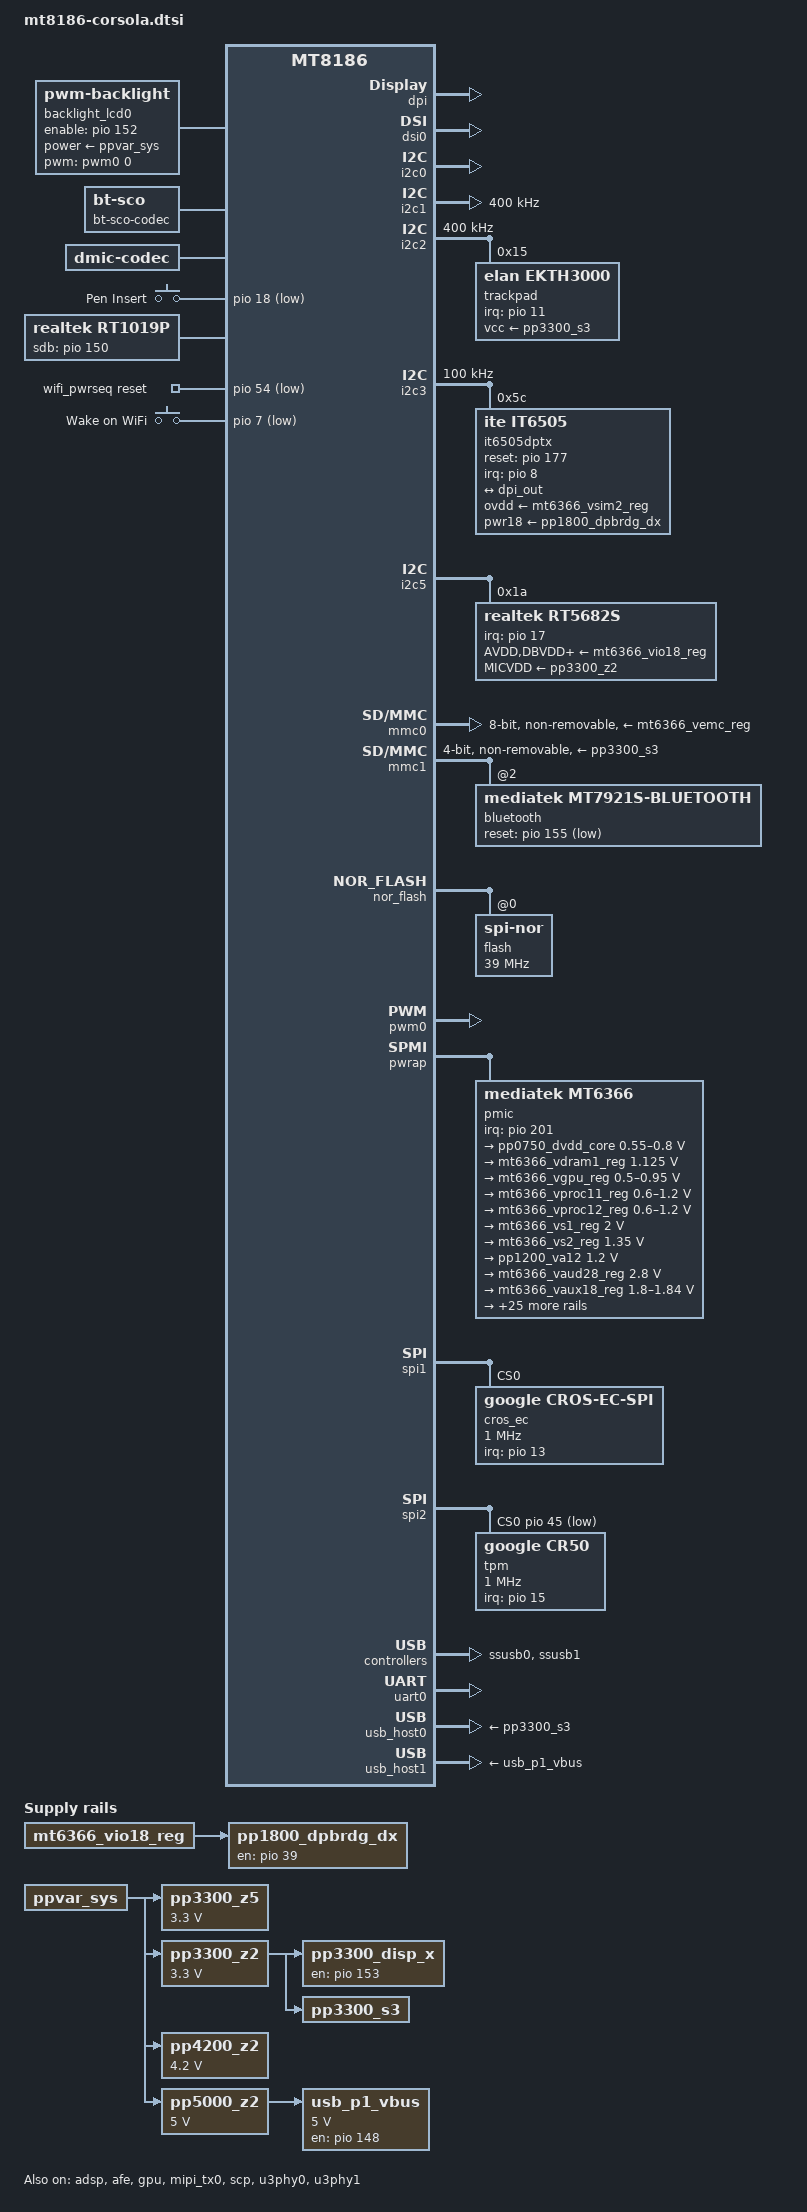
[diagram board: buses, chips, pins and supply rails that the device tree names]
// SPDX-License-Identifier: (GPL-2.0 OR MIT)
/*
 * Copyright (C) 2022 MediaTek Inc.
 */
/dts-v1/;
#include "mt8186.dtsi"
#include <dt-bindings/pinctrl/mt8186-pinfunc.h>
#include <dt-bindings/gpio/gpio.h>
#include <dt-bindings/input/input.h>
#include <dt-bindings/input/gpio-keys.h>
#include <dt-bindings/regulator/mediatek,mt6397-regulator.h>

/ {
	aliases {
		i2c0 = &i2c0;
		i2c1 = &i2c1;
		i2c2 = &i2c2;
		i2c3 = &i2c3;
		i2c5 = &i2c5;
		mmc0 = &mmc0;
		mmc1 = &mmc1;
		serial0 = &uart0;
	};

	chosen {
		stdout-path = "serial0:115200n8";
	};

	memory@40000000 {
		device_type = "memory";
		/* The size should be filled in by the bootloader. */
		reg = <0 0x40000000 0 0>;
	};

	backlight_lcd0: backlight-lcd0 {
		compatible = "pwm-backlight";
		pwms = <&pwm0 0 500000>;
		power-supply = <&ppvar_sys>;
		enable-gpios = <&pio 152 0>;
		brightness-levels = <0 1023>;
		num-interpolated-steps = <1023>;
		default-brightness-level = <576>;
	};

	bt-sco-codec {
		compatible = "linux,bt-sco";
		#sound-dai-cells = <0>;
	};

	dmic-codec {
		compatible = "dmic-codec";
		#sound-dai-cells = <0>;
		num-channels = <2>;
		wakeup-delay-ms = <50>;
	};

	gpio_keys: gpio-keys {
		compatible = "gpio-keys";
		pinctrl-names = "default";
		pinctrl-0 = <&pen_eject>;

		pen_insert: pen-insert-switch {
			label = "Pen Insert";
			/* Insert = low, eject = high */
			gpios = <&pio 18 GPIO_ACTIVE_LOW>;
			wakeup-event-action = <EV_ACT_DEASSERTED>;
			wakeup-source;
			linux,code = <SW_PEN_INSERTED>;
			linux,input-type = <EV_SW>;
		};
	};

	pp1800_dpbrdg_dx: regulator-pp1800-dpbrdg-dx {
		compatible = "regulator-fixed";
		pinctrl-names = "default";
		pinctrl-0 = <&en_pp1800_dpbrdg>;
		gpios = <&pio 39 GPIO_ACTIVE_HIGH>;
		regulator-name = "pp1800_dpbrdg_dx";
		enable-active-high;
		vin-supply = <&mt6366_vio18_reg>;
	};

	pp3300_disp_x: regulator-pp3300-disp-x {
		compatible = "regulator-fixed";
		pinctrl-names = "default";
		pinctrl-0 = <&edp_panel_fixed_pins>;
		gpios = <&pio 153 GPIO_ACTIVE_HIGH>;
		regulator-name = "pp3300_disp_x";
		enable-active-high;
		regulator-boot-on;
		vin-supply = <&pp3300_z2>;
	};

	/* system wide LDO 3.3V power rail */
	pp3300_z5: regulator-pp3300-ldo-z5 {
		compatible = "regulator-fixed";
		regulator-name = "pp3300_ldo_z5";
		regulator-always-on;
		regulator-boot-on;
		regulator-min-microvolt = <3300000>;
		regulator-max-microvolt = <3300000>;
		vin-supply = <&ppvar_sys>;
	};

	/* separately switched 3.3V power rail */
	pp3300_s3: regulator-pp3300-s3 {
		compatible = "regulator-fixed";
		regulator-name = "pp3300_s3";
		/* automatically sequenced by PMIC EXT_PMIC_EN2 */
		regulator-always-on;
		regulator-boot-on;
		vin-supply = <&pp3300_z2>;
	};

	/* system wide 3.3V power rail */
	pp3300_z2: regulator-pp3300-z2 {
		compatible = "regulator-fixed";
		regulator-name = "pp3300_z2";
		/* EN pin tied to pp4200_z2, which is controlled by EC */
		regulator-always-on;
		regulator-boot-on;
		regulator-min-microvolt = <3300000>;
		regulator-max-microvolt = <3300000>;
		vin-supply = <&ppvar_sys>;
	};

	/* system wide 4.2V power rail */
	pp4200_z2: regulator-pp4200-z2 {
		compatible = "regulator-fixed";
		regulator-name = "pp4200_z2";
		/* controlled by EC */
		regulator-always-on;
		regulator-boot-on;
		regulator-min-microvolt = <4200000>;
		regulator-max-microvolt = <4200000>;
		vin-supply = <&ppvar_sys>;
	};

	/* system wide switching 5.0V power rail */
	pp5000_z2: regulator-pp5000-z2 {
		compatible = "regulator-fixed";
		regulator-name = "pp5000_z2";
		/* controlled by EC */
		regulator-always-on;
		regulator-boot-on;
		regulator-min-microvolt = <5000000>;
		regulator-max-microvolt = <5000000>;
		vin-supply = <&ppvar_sys>;
	};

	/* system wide semi-regulated power rail from battery or USB */
	ppvar_sys: regulator-ppvar-sys {
		compatible = "regulator-fixed";
		regulator-name = "ppvar_sys";
		regulator-always-on;
		regulator-boot-on;
	};

	reserved_memory: reserved-memory {
		#address-cells = <2>;
		#size-cells = <2>;
		ranges;

		adsp_dma_mem: memory@61000000 {
			compatible = "shared-dma-pool";
			reg = <0 0x61000000 0 0x100000>;
			no-map;
		};

		adsp_mem: memory@60000000 {
			compatible = "shared-dma-pool";
			reg = <0 0x60000000 0 0xA00000>;
			no-map;
		};

		scp_mem: memory@50000000 {
			compatible = "shared-dma-pool";
			reg = <0 0x50000000 0 0x10a0000>;
			no-map;
		};
	};

	sound: sound {
		compatible = "mediatek,mt8186-mt6366-rt1019-rt5682s-sound";
		pinctrl-names = "aud_clk_mosi_off",
				"aud_clk_mosi_on",
				"aud_clk_miso_off",
				"aud_clk_miso_on",
				"aud_dat_miso_off",
				"aud_dat_miso_on",
				"aud_dat_mosi_off",
				"aud_dat_mosi_on",
				"aud_gpio_i2s0_off",
				"aud_gpio_i2s0_on",
				"aud_gpio_i2s1_off",
				"aud_gpio_i2s1_on",
				"aud_gpio_i2s2_off",
				"aud_gpio_i2s2_on",
				"aud_gpio_i2s3_off",
				"aud_gpio_i2s3_on",
				"aud_gpio_pcm_off",
				"aud_gpio_pcm_on",
				"aud_gpio_dmic_sec";
		pinctrl-0 = <&aud_clk_mosi_off>;
		pinctrl-1 = <&aud_clk_mosi_on>;
		pinctrl-2 = <&aud_clk_miso_off>;
		pinctrl-3 = <&aud_clk_miso_on>;
		pinctrl-4 = <&aud_dat_miso_off>;
		pinctrl-5 = <&aud_dat_miso_on>;
		pinctrl-6 = <&aud_dat_mosi_off>;
		pinctrl-7 = <&aud_dat_mosi_on>;
		pinctrl-8 = <&aud_gpio_i2s0_off>;
		pinctrl-9 = <&aud_gpio_i2s0_on>;
		pinctrl-10 = <&aud_gpio_i2s1_off>;
		pinctrl-11 = <&aud_gpio_i2s1_on>;
		pinctrl-12 = <&aud_gpio_i2s2_off>;
		pinctrl-13 = <&aud_gpio_i2s2_on>;
		pinctrl-14 = <&aud_gpio_i2s3_off>;
		pinctrl-15 = <&aud_gpio_i2s3_on>;
		pinctrl-16 = <&aud_gpio_pcm_off>;
		pinctrl-17 = <&aud_gpio_pcm_on>;
		pinctrl-18 = <&aud_gpio_dmic_sec>;
		mediatek,adsp = <&adsp>;
		mediatek,platform = <&afe>;

		playback-codecs {
			sound-dai = <&it6505dptx>, <&rt1019p>;
		};

		headset-codec {
			sound-dai = <&rt5682s 0>;
		};
	};

	rt1019p: speaker-codec {
		compatible = "realtek,rt1019p";
		pinctrl-names = "default";
		pinctrl-0 = <&rt1019p_pins_default>;
		#sound-dai-cells = <0>;
		sdb-gpios = <&pio 150 GPIO_ACTIVE_HIGH>;
	};

	usb_p1_vbus: regulator-usb-p1-vbus {
		compatible = "regulator-fixed";
		gpio = <&pio 148 GPIO_ACTIVE_HIGH>;
		regulator-name = "vbus1";
		regulator-min-microvolt = <5000000>;
		regulator-max-microvolt = <5000000>;
		enable-active-high;
		vin-supply = <&pp5000_z2>;
	};

	wifi_pwrseq: wifi-pwrseq {
		compatible = "mmc-pwrseq-simple";
		pinctrl-names = "default";
		pinctrl-0 = <&wifi_enable_pin>;
		post-power-on-delay-ms = <50>;
		reset-gpios = <&pio 54 GPIO_ACTIVE_LOW>;
	};

	wifi_wakeup: wifi-wakeup {
		compatible = "gpio-keys";
		pinctrl-names = "default";
		pinctrl-0 = <&wifi_wakeup_pin>;

		wowlan-event {
			label = "Wake on WiFi";
			gpios = <&pio 7 GPIO_ACTIVE_LOW>;
			linux,code = <KEY_WAKEUP>;
			wakeup-source;
		};
	};
};

&adsp {
	memory-region = <&adsp_dma_mem>, <&adsp_mem>;
	status = "okay";
};

&afe {
	status = "okay";
};

&cci {
	proc-supply = <&mt6366_vproc12_reg>;
};

&cpu0 {
	proc-supply = <&mt6366_vproc12_reg>;
};

&cpu1 {
	proc-supply = <&mt6366_vproc12_reg>;
};

&cpu2 {
	proc-supply = <&mt6366_vproc12_reg>;
};

&cpu3 {
	proc-supply = <&mt6366_vproc12_reg>;
};

&cpu4 {
	proc-supply = <&mt6366_vproc12_reg>;
};

&cpu5 {
	proc-supply = <&mt6366_vproc12_reg>;
};

&cpu6 {
	proc-supply = <&mt6366_vproc11_reg>;
};

&cpu7 {
	proc-supply = <&mt6366_vproc11_reg>;
};

&dpi {
	pinctrl-names = "default", "sleep";
	pinctrl-0 = <&dpi_pins_default>;
	pinctrl-1 = <&dpi_pins_sleep>;
	status = "okay";
};

&dpi_out {
	remote-endpoint = <&it6505_in>;
};

&dsi0 {
	status = "okay";
};

&gic {
	mediatek,broken-save-restore-fw;
};

&gpu {
	mali-supply = <&mt6366_vgpu_reg>;
	status = "okay";
};

&i2c0 {
	pinctrl-names = "default";
	pinctrl-0 = <&i2c0_pins>;
	status = "okay";
};

&i2c1 {
	pinctrl-names = "default";
	pinctrl-0 = <&i2c1_pins>;
	clock-frequency = <400000>;
	i2c-scl-internal-delay-ns = <8000>;
	status = "okay";
};

&i2c2 {
	pinctrl-names = "default";
	/*
	 * Trackpad pin put here to work around second source components
	 * sharing the pinmux in steelix designs.
	 */
	pinctrl-0 = <&i2c2_pins>, <&trackpad_pin>;
	clock-frequency = <400000>;
	i2c-scl-internal-delay-ns = <10000>;
	status = "okay";

	trackpad@15 {
		compatible = "elan,ekth3000";
		reg = <0x15>;
		interrupts-extended = <&pio 11 IRQ_TYPE_LEVEL_LOW>;
		vcc-supply = <&pp3300_s3>;
		wakeup-source;
	};
};

&i2c3 {
	pinctrl-names = "default";
	pinctrl-0 = <&i2c3_pins>;
	clock-frequency = <100000>;
	status = "okay";

	it6505dptx: dp-bridge@5c {
		compatible = "ite,it6505";
		reg = <0x5c>;
		interrupts-extended = <&pio 8 IRQ_TYPE_LEVEL_LOW>;
		pinctrl-names = "default";
		pinctrl-0 = <&it6505_pins>;
		#sound-dai-cells = <0>;
		ovdd-supply = <&mt6366_vsim2_reg>;
		pwr18-supply = <&pp1800_dpbrdg_dx>;
		reset-gpios = <&pio 177 GPIO_ACTIVE_HIGH>;

		ports {
			#address-cells = <1>;
			#size-cells = <0>;

			port@0 {
				reg = <0>;

				it6505_in: endpoint {
					link-frequencies = /bits/ 64 <150000000>;
					remote-endpoint = <&dpi_out>;
				};
			};

			port@1 {
				reg = <1>;
			};
		};
	};
};

&i2c5 {
	pinctrl-names = "default";
	pinctrl-0 = <&i2c5_pins>;
	status = "okay";

	rt5682s: codec@1a {
		compatible = "realtek,rt5682s";
		reg = <0x1a>;
		interrupts-extended = <&pio 17 IRQ_TYPE_EDGE_BOTH>;
		#sound-dai-cells = <1>;
		AVDD-supply = <&mt6366_vio18_reg>;
		DBVDD-supply = <&mt6366_vio18_reg>;
		LDO1-IN-supply = <&mt6366_vio18_reg>;
		MICVDD-supply = <&pp3300_z2>;
		realtek,jd-src = <1>;
	};
};

&mfg0 {
	domain-supply = <&mt6366_vsram_gpu_reg>;
};

&mfg1 {
	domain-supply = <&mt6366_vgpu_reg>;
};

&mipi_tx0 {
	status = "okay";
};

&mmc0 {
	pinctrl-names = "default", "state_uhs";
	pinctrl-0 = <&mmc0_pins_default>;
	pinctrl-1 = <&mmc0_pins_uhs>;
	bus-width = <8>;
	max-frequency = <200000000>;
	non-removable;
	cap-mmc-highspeed;
	mmc-hs200-1_8v;
	mmc-hs400-1_8v;
	supports-cqe;
	no-sd;
	no-sdio;
	cap-mmc-hw-reset;
	hs400-ds-delay = <0x11814>;
	mediatek,hs400-ds-dly3 = <0x14>;
	vmmc-supply = <&mt6366_vemc_reg>;
	vqmmc-supply = <&mt6366_vio18_reg>;
	status = "okay";
};

&mmc1 {
	pinctrl-names = "default", "state_uhs", "state_eint";
	pinctrl-0 = <&mmc1_pins_default>;
	pinctrl-1 = <&mmc1_pins_uhs>;
	pinctrl-2 = <&mmc1_pins_eint>;
	/delete-property/ interrupts;
	interrupt-names = "msdc", "sdio_wakeup";
	interrupts-extended = <&gic GIC_SPI 101 IRQ_TYPE_LEVEL_HIGH 0>,
			      <&pio 87 IRQ_TYPE_LEVEL_LOW>;
	#address-cells = <1>;
	#size-cells = <0>;
	bus-width = <4>;
	max-frequency = <200000000>;
	cap-sd-highspeed;
	sd-uhs-sdr104;
	sd-uhs-sdr50;
	keep-power-in-suspend;
	wakeup-source;
	cap-sdio-irq;
	no-mmc;
	no-sd;
	non-removable;
	vmmc-supply = <&pp3300_s3>;
	vqmmc-supply = <&mt6366_vio18_reg>;
	mmc-pwrseq = <&wifi_pwrseq>;
	status = "okay";

	bluetooth@2 {
		compatible = "mediatek,mt7921s-bluetooth";
		reg = <2>;
		pinctrl-names = "default";
		pinctrl-0 = <&bt_pins_reset>;
		reset-gpios = <&pio 155 GPIO_ACTIVE_LOW>;
	};
};

&nor_flash {
	assigned-clock-parents = <&topckgen CLK_TOP_MAINPLL_D7_D4>;
	pinctrl-names = "default";
	pinctrl-0 = <&nor_pins_default>;
	#address-cells = <1>;
	#size-cells = <0>;
	status = "okay";

	flash@0 {
		compatible = "jedec,spi-nor";
		reg = <0>;
		spi-max-frequency = <39000000>;
	};
};

&pio {
	/* 185 lines */
	gpio-line-names = "TP",
			  "TP",
			  "TP",
			  "I2S0_HP_DI",
			  "I2S3_DP_SPKR_DO",
			  "SAR_INT_ODL",
			  "BT_WAKE_AP_ODL",
			  "WIFI_INT_ODL",
			  "DPBRDG_INT_ODL",
			  "EDPBRDG_INT_ODL",
			  "EC_AP_HPD_OD",
			  "TCHPAD_INT_ODL",
			  "TCHSCR_INT_1V8_ODL",
			  "EC_AP_INT_ODL",
			  "EC_IN_RW_ODL",
			  "GSC_AP_INT_ODL",
			  /* AP_FLASH_WP_L is crossystem ABI. Rev1 schematics call it AP_WP_ODL. */
			  "AP_FLASH_WP_L",
			  "HP_INT_ODL",
			  "PEN_EJECT_OD",
			  "WCAM_PWDN_L",
			  "WCAM_RST_L",
			  "UCAM_SEN_EN",
			  "UCAM_RST_L",
			  "LTE_RESET_L",
			  "LTE_SAR_DETECT_L",
			  "I2S2_DP_SPK_MCK",
			  "I2S2_DP_SPKR_BCK",
			  "I2S2_DP_SPKR_LRCK",
			  "I2S2_DP_SPKR_DI (TP)",
			  "EN_PP1000_EDPBRDG",
			  "EN_PP1800_EDPBRDG",
			  "EN_PP3300_EDPBRDG",
			  "UART_GSC_TX_AP_RX",
			  "UART_AP_TX_GSC_RX",
			  "UART_DBGCON_TX_ADSP_RX",
			  "UART_ADSP_TX_DBGCON_RX",
			  "EN_PP1000_DPBRDG",
			  "TCHSCR_REPORT_DISABLE",
			  "EN_PP3300_DPBRDG",
			  "EN_PP1800_DPBRDG",
			  "SPI_AP_CLK_EC",
			  "SPI_AP_CS_EC_L",
			  "SPI_AP_DO_EC_DI",
			  "SPI_AP_DI_EC_DO",
			  "SPI_AP_CLK_GSC",
			  "SPI_AP_CS_GSC_L",
			  "SPI_AP_DO_GSC_DI",
			  "SPI_AP_DI_GSC_DO",
			  "UART_DBGCON_TX_SCP_RX",
			  "UART_SCP_TX_DBGCON_RX",
			  "EN_PP1200_CAM_X",
			  "EN_PP2800A_VCM_X",
			  "EN_PP2800A_UCAM_X",
			  "EN_PP2800A_WCAM_X",
			  "WLAN_MODULE_RST_L",
			  "EN_PP1200_UCAM_X",
			  "I2S1_HP_DO",
			  "I2S1_HP_BCK",
			  "I2S1_HP_LRCK",
			  "I2S1_HP_MCK",
			  "TCHSCR_RST_1V8_L",
			  "SPI_AP_CLK_ROM",
			  "SPI_AP_CS_ROM_L",
			  "SPI_AP_DO_ROM_DI",
			  "SPI_AP_DI_ROM_DO",
			  "NC",
			  "NC",
			  "EMMC_STRB",
			  "EMMC_CLK",
			  "EMMC_CMD",
			  "EMMC_RST_L",
			  "EMMC_DATA0",
			  "EMMC_DATA1",
			  "EMMC_DATA2",
			  "EMMC_DATA3",
			  "EMMC_DATA4",
			  "EMMC_DATA5",
			  "EMMC_DATA6",
			  "EMMC_DATA7",
			  "AP_KPCOL0",
			  "NC",
			  "NC",
			  "NC",
			  "TP",
			  "SDIO_CLK",
			  "SDIO_CMD",
			  "SDIO_DATA0",
			  "SDIO_DATA1",
			  "SDIO_DATA2",
			  "SDIO_DATA3",
			  "NC",
			  "NC",
			  "NC",
			  "NC",
			  "NC",
			  "NC",
			  "EDPBRDG_PWREN",
			  "BL_PWM_1V8",
			  "EDPBRDG_RST_L",
			  "MIPI_DPI_CLK",
			  "MIPI_DPI_VSYNC",
			  "MIPI_DPI_HSYNC",
			  "MIPI_DPI_DE",
			  "MIPI_DPI_D0",
			  "MIPI_DPI_D1",
			  "MIPI_DPI_D2",
			  "MIPI_DPI_D3",
			  "MIPI_DPI_D4",
			  "MIPI_DPI_D5",
			  "MIPI_DPI_D6",
			  "MIPI_DPI_DA7",
			  "MIPI_DPI_D8",
			  "MIPI_DPI_D9",
			  "MIPI_DPI_D10",
			  "MIPI_DPI_D11",
			  "PCM_BT_CLK",
			  "PCM_BT_SYNC",
			  "PCM_BT_DI",
			  "PCM_BT_DO",
			  "JTAG_TMS_TP",
			  "JTAG_TCK_TP",
			  "JTAG_TDI_TP",
			  "JTAG_TDO_TP",
			  "JTAG_TRSTN_TP",
			  "CLK_24M_WCAM",
			  "CLK_24M_UCAM",
			  "UCAM_DET_ODL",
			  "AP_I2C_EDPBRDG_SCL_1V8",
			  "AP_I2C_EDPBRDG_SDA_1V8",
			  "AP_I2C_TCHSCR_SCL_1V8",
			  "AP_I2C_TCHSCR_SDA_1V8",
			  "AP_I2C_TCHPAD_SCL_1V8",
			  "AP_I2C_TCHPAD_SDA_1V8",
			  "AP_I2C_DPBRDG_SCL_1V8",
			  "AP_I2C_DPBRDG_SDA_1V8",
			  "AP_I2C_WLAN_SCL_1V8",
			  "AP_I2C_WLAN_SDA_1V8",
			  "AP_I2C_AUD_SCL_1V8",
			  "AP_I2C_AUD_SDA_1V8",
			  "AP_I2C_TPM_SCL_1V8",
			  "AP_I2C_UCAM_SDA_1V8",
			  "AP_I2C_UCAM_SCL_1V8",
			  "AP_I2C_UCAM_SDA_1V8",
			  "AP_I2C_WCAM_SCL_1V8",
			  "AP_I2C_WCAM_SDA_1V8",
			  "SCP_I2C_SENSOR_SCL_1V8",
			  "SCP_I2C_SENSOR_SDA_1V8",
			  "AP_EC_WARM_RST_REQ",
			  "AP_XHCI_INIT_DONE",
			  "USB3_HUB_RST_L",
			  "EN_SPKR",
			  "BEEP_ON",
			  "AP_EDP_BKLTEN",
			  "EN_PP3300_DISP_X",
			  "EN_PP3300_SDBRDG_X",
			  "BT_KILL_1V8_L",
			  "WIFI_KILL_1V8_L",
			  "PWRAP_SPI0_CSN",
			  "PWRAP_SPI0_CK",
			  "PWRAP_SPI0_MO",
			  "PWRAP_SPI0_MI",
			  "SRCLKENA0",
			  "SRCLKENA1",
			  "SCP_VREQ_VAO",
			  "AP_RTC_CLK32K",
			  "AP_PMIC_WDTRST_L",
			  "AUD_CLK_MOSI",
			  "AUD_SYNC_MOSI",
			  "AUD_DAT_MOSI0",
			  "AUD_DAT_MOSI1",
			  "AUD_CLK_MISO",
			  "AUD_SYNC_MISO",
			  "AUD_DAT_MISO0",
			  "AUD_DAT_MISO1",
			  "NC",
			  "NC",
			  "DPBRDG_PWREN",
			  "DPBRDG_RST_L",
			  "LTE_W_DISABLE_L",
			  "LTE_SAR_DETECT_L",
			  "EN_PP3300_LTE_X",
			  "LTE_PWR_OFF_L",
			  "LTE_RESET_L",
			  "TP",
			  "TP";

	aud_clk_mosi_off: aud-clk-mosi-off-pins {
		pins-clk-sync {
			pinmux = <PINMUX_GPIO166__FUNC_GPIO166>,
				 <PINMUX_GPIO167__FUNC_GPIO167>;
			input-enable;
			bias-pull-down;
		};
	};

	aud_clk_mosi_on: aud-clk-mosi-on-pins {
		pins-clk-sync {
			pinmux = <PINMUX_GPIO166__FUNC_AUD_CLK_MOSI>,
				 <PINMUX_GPIO167__FUNC_AUD_SYNC_MOSI>;
		};
	};

	aud_clk_miso_off: aud-clk-miso-off-pins {
		pins-clk-sync {
			pinmux = <PINMUX_GPIO170__FUNC_GPIO170>,
				 <PINMUX_GPIO171__FUNC_GPIO171>;
			input-enable;
			bias-pull-down;
		};
	};

	aud_clk_miso_on: aud-clk-miso-on-pins {
		pins-clk-sync {
			pinmux = <PINMUX_GPIO170__FUNC_AUD_CLK_MISO>,
				 <PINMUX_GPIO171__FUNC_AUD_SYNC_MISO>;
		};
	};

	aud_dat_mosi_off: aud-dat-mosi-off-pins {
		pins-dat {
			pinmux = <PINMUX_GPIO168__FUNC_GPIO168>,
				 <PINMUX_GPIO169__FUNC_GPIO169>;
			input-enable;
			bias-pull-down;
		};
	};

	aud_dat_mosi_on: aud-dat-mosi-on-pins {
		pins-dat {
			pinmux = <PINMUX_GPIO168__FUNC_AUD_DAT_MOSI0>,
				 <PINMUX_GPIO169__FUNC_AUD_DAT_MOSI1>;
		};
	};

	aud_dat_miso_off: aud-dat-miso-off-pins {
		pins-dat {
			pinmux = <PINMUX_GPIO172__FUNC_GPIO172>,
				 <PINMUX_GPIO173__FUNC_GPIO173>;
			input-enable;
			bias-pull-down;
		};
	};

	aud_dat_miso_on: aud-dat-miso-on-pins {
		pins-dat {
			pinmux = <PINMUX_GPIO172__FUNC_AUD_DAT_MISO0>,
				 <PINMUX_GPIO173__FUNC_AUD_DAT_MISO1>;
			input-schmitt-enable;
			bias-disable;
		};
	};

	aud_gpio_i2s0_off: aud-gpio-i2s0-off-pins {
		pins-sdata {
			pinmux = <PINMUX_GPIO3__FUNC_GPIO3>;
		};
	};

	aud_gpio_i2s0_on: aud-gpio-i2s0-on-pins {
		pins-sdata {
			pinmux = <PINMUX_GPIO3__FUNC_I2S0_DI>;
		};
	};

	aud_gpio_i2s1_off: aud-gpio-i2s-off-pins {
		pins-clk-sdata {
			pinmux = <PINMUX_GPIO56__FUNC_GPIO56>,
				 <PINMUX_GPIO57__FUNC_GPIO57>,
				 <PINMUX_GPIO58__FUNC_GPIO58>,
				 <PINMUX_GPIO59__FUNC_GPIO59>;
			output-low;
		};
	};

	aud_gpio_i2s1_on: aud-gpio-i2s1-on-pins {
		pins-clk-sdata {
			pinmux = <PINMUX_GPIO56__FUNC_I2S1_DO>,
				 <PINMUX_GPIO57__FUNC_I2S1_BCK>,
				 <PINMUX_GPIO58__FUNC_I2S1_LRCK>,
				 <PINMUX_GPIO59__FUNC_I2S1_MCK>;
		};
	};

	aud_gpio_i2s2_off: aud-gpio-i2s2-off-pins {
		pins-cmd-dat {
			pinmux = <PINMUX_GPIO26__FUNC_GPIO26>,
				 <PINMUX_GPIO27__FUNC_GPIO27>;
			output-low;
		};
	};

	aud_gpio_i2s2_on: aud-gpio-i2s2-on-pins {
		pins-clk {
			pinmux = <PINMUX_GPIO26__FUNC_I2S2_BCK>,
				 <PINMUX_GPIO27__FUNC_I2S2_LRCK>;
			drive-strength = <4>;
		};
	};

	aud_gpio_i2s3_off: aud-gpio-i2s3-off-pins {
		pins-sdata {
			pinmux = <PINMUX_GPIO4__FUNC_GPIO4>;
			output-low;
		};
	};

	aud_gpio_i2s3_on: aud-gpio-i2s3-on-pins {
		pins-sdata {
			pinmux = <PINMUX_GPIO4__FUNC_I2S3_DO>;
			drive-strength = <4>;
		};
	};

	aud_gpio_pcm_off: aud-gpio-pcm-off-pins {
		pins-clk-sdata {
			pinmux = <PINMUX_GPIO115__FUNC_GPIO115>,
				 <PINMUX_GPIO116__FUNC_GPIO116>,
				 <PINMUX_GPIO117__FUNC_GPIO117>,
				 <PINMUX_GPIO118__FUNC_GPIO118>;
			output-low;
		};
	};

	aud_gpio_pcm_on: aud-gpio-pcm-on-pins {
		pins-clk-sdata {
			pinmux = <PINMUX_GPIO115__FUNC_PCM_CLK>,
				 <PINMUX_GPIO116__FUNC_PCM_SYNC>,
				 <PINMUX_GPIO117__FUNC_PCM_DI>,
				 <PINMUX_GPIO118__FUNC_PCM_DO>;
		};
	};

	aud_gpio_dmic_sec: aud-gpio-dmic-sec-pins {
		pins {
			pinmux = <PINMUX_GPIO23__FUNC_GPIO23>;
			output-low;
		};
	};

	bt_pins_reset: bt-reset-pins {
		pins-bt-reset {
			pinmux = <PINMUX_GPIO155__FUNC_GPIO155>;
			output-high;
		};
	};

	dpi_pins_sleep: dpi-sleep-pins {
		pins-cmd-dat {
			pinmux = <PINMUX_GPIO103__FUNC_GPIO103>,
				 <PINMUX_GPIO104__FUNC_GPIO104>,
				 <PINMUX_GPIO105__FUNC_GPIO105>,
				 <PINMUX_GPIO106__FUNC_GPIO106>,
				 <PINMUX_GPIO107__FUNC_GPIO107>,
				 <PINMUX_GPIO108__FUNC_GPIO108>,
				 <PINMUX_GPIO109__FUNC_GPIO109>,
				 <PINMUX_GPIO110__FUNC_GPIO110>,
				 <PINMUX_GPIO111__FUNC_GPIO111>,
				 <PINMUX_GPIO112__FUNC_GPIO112>,
				 <PINMUX_GPIO113__FUNC_GPIO113>,
				 <PINMUX_GPIO114__FUNC_GPIO114>,
				 <PINMUX_GPIO101__FUNC_GPIO101>,
				 <PINMUX_GPIO100__FUNC_GPIO100>,
				 <PINMUX_GPIO102__FUNC_GPIO102>,
				 <PINMUX_GPIO99__FUNC_GPIO99>;
			drive-strength = <10>;
			output-low;
		};
	};

	dpi_pins_default: dpi-default-pins {
		pins-cmd-dat {
			pinmux = <PINMUX_GPIO103__FUNC_DPI_DATA0>,
				 <PINMUX_GPIO104__FUNC_DPI_DATA1>,
				 <PINMUX_GPIO105__FUNC_DPI_DATA2>,
				 <PINMUX_GPIO106__FUNC_DPI_DATA3>,
				 <PINMUX_GPIO107__FUNC_DPI_DATA4>,
				 <PINMUX_GPIO108__FUNC_DPI_DATA5>,
				 <PINMUX_GPIO109__FUNC_DPI_DATA6>,
				 <PINMUX_GPIO110__FUNC_DPI_DATA7>,
				 <PINMUX_GPIO111__FUNC_DPI_DATA8>,
				 <PINMUX_GPIO112__FUNC_DPI_DATA9>,
				 <PINMUX_GPIO113__FUNC_DPI_DATA10>,
				 <PINMUX_GPIO114__FUNC_DPI_DATA11>,
				 <PINMUX_GPIO101__FUNC_DPI_HSYNC>,
				 <PINMUX_GPIO100__FUNC_DPI_VSYNC>,
				 <PINMUX_GPIO102__FUNC_DPI_DE>,
				 <PINMUX_GPIO99__FUNC_DPI_PCLK>;
			drive-strength = <10>;
		};
	};

	ec_ap_int: cros-ec-int-pins {
		pins-ec-ap-int-odl {
			pinmux = <PINMUX_GPIO13__FUNC_GPIO13>;
			input-enable;
		};
	};

	edp_panel_fixed_pins: edp-panel-fixed-pins {
		pins-vreg-en {
			pinmux = <PINMUX_GPIO153__FUNC_GPIO153>;
			output-high;
		};
	};

	en_pp1800_dpbrdg: en-pp1800-dpbrdg-pins {
		pins-vreg-en {
			pinmux = <PINMUX_GPIO39__FUNC_GPIO39>;
			output-low;
		};
	};

	gsc_int: gsc-int-pins {
		pins-gsc-ap-int-odl {
			pinmux = <PINMUX_GPIO15__FUNC_GPIO15>;
			input-enable;
		};
	};

	i2c0_pins: i2c0-pins {
		pins-bus {
			pinmux = <PINMUX_GPIO128__FUNC_SDA0>,
				 <PINMUX_GPIO127__FUNC_SCL0>;
			bias-disable;
			drive-strength = <4>;
			input-enable;
		};
	};

	i2c1_pins: i2c1-pins {
		pins-bus {
			pinmux = <PINMUX_GPIO130__FUNC_SDA1>,
				 <PINMUX_GPIO129__FUNC_SCL1>;
			bias-disable;
			drive-strength = <4>;
			input-enable;
		};
	};

	i2c2_pins: i2c2-pins {
		pins-bus {
			pinmux = <PINMUX_GPIO132__FUNC_SDA2>,
				 <PINMUX_GPIO131__FUNC_SCL2>;
			bias-disable;
			drive-strength = <4>;
			input-enable;
		};
	};

	i2c3_pins: i2c3-pins {
		pins-bus {
			pinmux = <PINMUX_GPIO134__FUNC_SDA3>,
				 <PINMUX_GPIO133__FUNC_SCL3>;
			bias-disable;
			drive-strength = <4>;
			input-enable;
		};
	};

	i2c5_pins: i2c5-pins {
		pins-bus {
			pinmux = <PINMUX_GPIO138__FUNC_SDA5>,
				 <PINMUX_GPIO137__FUNC_SCL5>;
			bias-disable;
			drive-strength = <4>;
			input-enable;
		};
	};

	it6505_pins: it6505-pins {
		pins-hpd {
			pinmux = <PINMUX_GPIO10__FUNC_GPIO10>;
			input-enable;
			bias-pull-up;
		};

		pins-int {
			pinmux = <PINMUX_GPIO8__FUNC_GPIO8>;
			input-enable;
			bias-pull-up;
		};

		pins-reset {
			pinmux = <PINMUX_GPIO177__FUNC_GPIO177>;
			output-low;
			bias-pull-up;
		};
	};

	mmc0_pins_default: mmc0-default-pins {
		pins-clk {
			pinmux = <PINMUX_GPIO68__FUNC_MSDC0_CLK>;
			bias-pull-down = <MTK_PUPD_SET_R1R0_10>;
		};

		pins-cmd-dat {
			pinmux = <PINMUX_GPIO71__FUNC_MSDC0_DAT0>,
				 <PINMUX_GPIO72__FUNC_MSDC0_DAT1>,
				 <PINMUX_GPIO73__FUNC_MSDC0_DAT2>,
				 <PINMUX_GPIO74__FUNC_MSDC0_DAT3>,
				 <PINMUX_GPIO75__FUNC_MSDC0_DAT4>,
				 <PINMUX_GPIO76__FUNC_MSDC0_DAT5>,
				 <PINMUX_GPIO77__FUNC_MSDC0_DAT6>,
				 <PINMUX_GPIO78__FUNC_MSDC0_DAT7>,
				 <PINMUX_GPIO69__FUNC_MSDC0_CMD>;
			input-enable;
			bias-pull-up = <MTK_PUPD_SET_R1R0_01>;
		};

		pins-rst {
			pinmux = <PINMUX_GPIO70__FUNC_MSDC0_RSTB>;
			bias-pull-up = <MTK_PUPD_SET_R1R0_01>;
		};
	};

	mmc0_pins_uhs: mmc0-uhs-pins {
		pins-clk {
			pinmux = <PINMUX_GPIO68__FUNC_MSDC0_CLK>;
			drive-strength = <6>;
			bias-pull-down = <MTK_PUPD_SET_R1R0_10>;
		};

		pins-cmd-dat {
			pinmux = <PINMUX_GPIO71__FUNC_MSDC0_DAT0>,
				 <PINMUX_GPIO72__FUNC_MSDC0_DAT1>,
				 <PINMUX_GPIO73__FUNC_MSDC0_DAT2>,
				 <PINMUX_GPIO74__FUNC_MSDC0_DAT3>,
				 <PINMUX_GPIO75__FUNC_MSDC0_DAT4>,
				 <PINMUX_GPIO76__FUNC_MSDC0_DAT5>,
				 <PINMUX_GPIO77__FUNC_MSDC0_DAT6>,
				 <PINMUX_GPIO78__FUNC_MSDC0_DAT7>,
				 <PINMUX_GPIO69__FUNC_MSDC0_CMD>;
			input-enable;
			drive-strength = <6>;
			bias-pull-up = <MTK_PUPD_SET_R1R0_01>;
		};

		pins-ds {
			pinmux = <PINMUX_GPIO67__FUNC_MSDC0_DSL>;
			drive-strength = <6>;
			bias-pull-down = <MTK_PUPD_SET_R1R0_10>;
		};

		pins-rst {
			pinmux = <PINMUX_GPIO70__FUNC_MSDC0_RSTB>;
			bias-pull-up = <MTK_PUPD_SET_R1R0_01>;
		};
	};

	mmc1_pins_default: mmc1-default-pins {
		pins-clk {
			pinmux = <PINMUX_GPIO84__FUNC_MSDC1_CLK>;
			drive-strength = <6>;
			bias-pull-down = <MTK_PUPD_SET_R1R0_10>;
		};

		pins-cmd-dat {
			pinmux = <PINMUX_GPIO86__FUNC_MSDC1_DAT0>,
				 <PINMUX_GPIO87__FUNC_MSDC1_DAT1>,
				 <PINMUX_GPIO88__FUNC_MSDC1_DAT2>,
				 <PINMUX_GPIO89__FUNC_MSDC1_DAT3>,
				 <PINMUX_GPIO85__FUNC_MSDC1_CMD>;
			input-enable;
			drive-strength = <6>;
			bias-pull-up = <MTK_PUPD_SET_R1R0_01>;
		};
	};

	mmc1_pins_uhs: mmc1-uhs-pins {
		pins-clk {
			pinmux = <PINMUX_GPIO84__FUNC_MSDC1_CLK>;
			drive-strength = <6>;
			bias-pull-down = <MTK_PUPD_SET_R1R0_10>;
		};

		pins-cmd-dat {
			pinmux = <PINMUX_GPIO86__FUNC_MSDC1_DAT0>,
				 <PINMUX_GPIO87__FUNC_MSDC1_DAT1>,
				 <PINMUX_GPIO88__FUNC_MSDC1_DAT2>,
				 <PINMUX_GPIO89__FUNC_MSDC1_DAT3>,
				 <PINMUX_GPIO85__FUNC_MSDC1_CMD>;
			input-enable;
			drive-strength = <8>;
			bias-pull-up = <MTK_PUPD_SET_R1R0_01>;
		};
	};

	mmc1_pins_eint: mmc1-eint-pins {
		pins-dat1 {
			pinmux = <PINMUX_GPIO87__FUNC_GPIO87>;
			input-enable;
			bias-pull-up = <MTK_PUPD_SET_R1R0_01>;
		};
	};

	nor_pins_default: nor-default-pins {
		pins-clk-dat {
			pinmux = <PINMUX_GPIO63__FUNC_SPINOR_IO0>,
				 <PINMUX_GPIO61__FUNC_SPINOR_CK>,
				 <PINMUX_GPIO64__FUNC_SPINOR_IO1>;
			drive-strength = <6>;
			bias-pull-down;
		};

		pins-cs-dat {
			pinmux = <PINMUX_GPIO62__FUNC_SPINOR_CS>,
				 <PINMUX_GPIO65__FUNC_SPINOR_IO2>,
				 <PINMUX_GPIO66__FUNC_SPINOR_IO3>;
			drive-strength = <6>;
			bias-pull-up;
		};
	};

	pen_eject: pen-eject-pins {
		pins {
			pinmux = <PINMUX_GPIO18__FUNC_GPIO18>;
			input-enable;
			/* External pull-up. */
			bias-disable;
		};
	};

	pwm0_pin: disp-pwm-pins {
		pins {
			pinmux = <PINMUX_GPIO97__FUNC_DISP_PWM>;
			output-high;
		};
	};

	rt1019p_pins_default: rt1019p-default-pins {
		pins-sdb {
			pinmux = <PINMUX_GPIO150__FUNC_GPIO150>;
			output-low;
		};
	};

	scp_pins: scp-default-pins {
		pins-scp-uart {
			pinmux = <PINMUX_GPIO48__FUNC_TP_URXD2_AO>,
				 <PINMUX_GPIO49__FUNC_TP_UTXD2_AO>;
		};
	};

	spi1_pins: spi1-pins {
		pins-bus {
			pinmux = <PINMUX_GPIO40__FUNC_SPI1_CLK_A>,
				 <PINMUX_GPIO41__FUNC_SPI1_CSB_A>,
				 <PINMUX_GPIO42__FUNC_SPI1_MO_A>,
				 <PINMUX_GPIO43__FUNC_SPI1_MI_A>;
			bias-disable;
			input-enable;
		};
	};

	spi2_pins: spi2-pins {
		pins-bus {
			pinmux = <PINMUX_GPIO44__FUNC_SPI2_CLK_A>,
				 <PINMUX_GPIO45__FUNC_GPIO45>,
				 <PINMUX_GPIO46__FUNC_SPI2_MO_A>,
				 <PINMUX_GPIO47__FUNC_SPI2_MI_A>;
			bias-disable;
			input-enable;
		};
	};

	spmi_pins: spmi-pins {
		pins-bus {
			pinmux = <PINMUX_GPIO183__FUNC_SPMI_SCL>,
				 <PINMUX_GPIO184__FUNC_SPMI_SDA>;
		};
	};

	touchscreen_pins: touchscreen-pins {
		pins-irq {
			pinmux = <PINMUX_GPIO12__FUNC_GPIO12>;
			input-enable;
			bias-pull-up;
		};

		pins-reset {
			pinmux = <PINMUX_GPIO60__FUNC_GPIO60>;
			output-high;
		};

		pins-report-sw {
			pinmux = <PINMUX_GPIO37__FUNC_GPIO37>;
			output-low;
		};
	};

	trackpad_pin: trackpad-default-pins {
		pins-int-n {
			pinmux = <PINMUX_GPIO11__FUNC_GPIO11>;
			input-enable;
			bias-disable; /* pulled externally */
		};
	};

	wifi_enable_pin: wifi-enable-pins {
		pins-wifi-enable {
			pinmux = <PINMUX_GPIO54__FUNC_GPIO54>;
		};
	};

	wifi_wakeup_pin: wifi-wakeup-pins {
		pins-wifi-wakeup {
			pinmux = <PINMUX_GPIO7__FUNC_GPIO7>;
			input-enable;
		};
	};
};

&pwm0 {
	pinctrl-names = "default";
	pinctrl-0 = <&pwm0_pin>;
	status = "okay";
};

&pwrap {
	pmic {
		compatible = "mediatek,mt6366", "mediatek,mt6358";
		interrupt-controller;
		interrupts-extended = <&pio 201 IRQ_TYPE_LEVEL_HIGH>;
		#interrupt-cells = <2>;

		mt6366codec: codec {
			compatible = "mediatek,mt6366-sound", "mediatek,mt6358-sound";
			Avdd-supply = <&mt6366_vaud28_reg>;
			mediatek,dmic-mode = <1>; /* one-wire */
		};

		mt6366_regulators: regulators {
			compatible = "mediatek,mt6366-regulator", "mediatek,mt6358-regulator";
			vsys-ldo1-supply = <&pp4200_z2>;
			vsys-ldo2-supply = <&pp4200_z2>;
			vsys-ldo3-supply = <&pp4200_z2>;
			vsys-vcore-supply = <&pp4200_z2>;
			vsys-vdram1-supply = <&pp4200_z2>;
			vsys-vgpu-supply = <&pp4200_z2>;
			vsys-vmodem-supply = <&pp4200_z2>;
			vsys-vpa-supply = <&pp4200_z2>;
			vsys-vproc11-supply = <&pp4200_z2>;
			vsys-vproc12-supply = <&pp4200_z2>;
			vsys-vs1-supply = <&pp4200_z2>;
			vsys-vs2-supply = <&pp4200_z2>;
			vs1-ldo1-supply = <&mt6366_vs1_reg>;
			vs2-ldo1-supply = <&mt6366_vdram1_reg>;
			vs2-ldo2-supply = <&mt6366_vs2_reg>;
			vs2-ldo3-supply = <&mt6366_vs2_reg>;

			vcore {
				regulator-name = "pp0750_dvdd_core";
				regulator-min-microvolt = <550000>;
				regulator-max-microvolt = <800000>;
				regulator-ramp-delay = <6250>;
				regulator-enable-ramp-delay = <200>;
				regulator-allowed-modes = <MT6397_BUCK_MODE_AUTO
							   MT6397_BUCK_MODE_FORCE_PWM>;
				regulator-always-on;
			};

			mt6366_vdram1_reg: vdram1 {
				regulator-name = "pp1125_emi_vdd2";
				regulator-min-microvolt = <1125000>;
				regulator-max-microvolt = <1125000>;
				regulator-ramp-delay = <12500>;
				regulator-enable-ramp-delay = <0>;
				regulator-allowed-modes = <MT6397_BUCK_MODE_AUTO
							   MT6397_BUCK_MODE_FORCE_PWM>;
				regulator-always-on;
			};

			mt6366_vgpu_reg: vgpu {
				/*
				 * Called "ppvar_dvdd_gpu" in the schematic.
				 * Called "ppvar_dvdd_vgpu" here to match
				 * regulator coupling requirements.
				 */
				regulator-name = "ppvar_dvdd_vgpu";
				regulator-min-microvolt = <500000>;
				regulator-max-microvolt = <950000>;
				regulator-ramp-delay = <6250>;
				regulator-enable-ramp-delay = <200>;
				regulator-allowed-modes = <MT6397_BUCK_MODE_AUTO
							   MT6397_BUCK_MODE_FORCE_PWM>;
				regulator-coupled-with = <&mt6366_vsram_gpu_reg>;
				regulator-coupled-max-spread = <10000>;
			};

			mt6366_vproc11_reg: vproc11 {
				regulator-name = "ppvar_dvdd_proc_bc_mt6366";
				regulator-min-microvolt = <600000>;
				regulator-max-microvolt = <1200000>;
				regulator-ramp-delay = <6250>;
				regulator-enable-ramp-delay = <200>;
				regulator-allowed-modes = <MT6397_BUCK_MODE_AUTO
							   MT6397_BUCK_MODE_FORCE_PWM>;
				regulator-always-on;
			};

			mt6366_vproc12_reg: vproc12 {
				regulator-name = "ppvar_dvdd_proc_lc";
				regulator-min-microvolt = <600000>;
				regulator-max-microvolt = <1200000>;
				regulator-ramp-delay = <6250>;
				regulator-enable-ramp-delay = <200>;
				regulator-allowed-modes = <MT6397_BUCK_MODE_AUTO
							   MT6397_BUCK_MODE_FORCE_PWM>;
				regulator-always-on;
			};

			mt6366_vs1_reg: vs1 {
				regulator-name = "pp2000_vs1";
				regulator-min-microvolt = <2000000>;
				regulator-max-microvolt = <2000000>;
				regulator-ramp-delay = <12500>;
				regulator-enable-ramp-delay = <0>;
				regulator-always-on;
			};

			mt6366_vs2_reg: vs2 {
				regulator-name = "pp1350_vs2";
				regulator-min-microvolt = <1350000>;
				regulator-max-microvolt = <1350000>;
				regulator-ramp-delay = <12500>;
				regulator-enable-ramp-delay = <0>;
				regulator-always-on;
			};

			va12 {
				regulator-name = "pp1200_va12";
				regulator-min-microvolt = <1200000>;
				regulator-max-microvolt = <1200000>;
				regulator-enable-ramp-delay = <270>;
				regulator-always-on;
			};

			mt6366_vaud28_reg: vaud28 {
				regulator-name = "pp2800_vaud28";
				regulator-min-microvolt = <2800000>;
				regulator-max-microvolt = <2800000>;
				regulator-enable-ramp-delay = <270>;
			};

			mt6366_vaux18_reg: vaux18 {
				regulator-name = "pp1840_vaux18";
				regulator-min-microvolt = <1800000>;
				regulator-max-microvolt = <1840000>;
				regulator-enable-ramp-delay = <270>;
			};

			mt6366_vbif28_reg: vbif28 {
				regulator-name = "pp2800_vbif28";
				regulator-min-microvolt = <2800000>;
				regulator-max-microvolt = <2800000>;
				regulator-enable-ramp-delay = <270>;
			};

			mt6366_vcn18_reg: vcn18 {
				regulator-name = "pp1800_vcn18_x";
				regulator-min-microvolt = <1800000>;
				regulator-max-microvolt = <1800000>;
				regulator-enable-ramp-delay = <270>;
			};

			mt6366_vcn28_reg: vcn28 {
				regulator-name = "pp2800_vcn28_x";
				regulator-min-microvolt = <2800000>;
				regulator-max-microvolt = <2800000>;
				regulator-enable-ramp-delay = <270>;
			};

			mt6366_vefuse_reg: vefuse {
				regulator-name = "pp1800_vefuse";
				regulator-min-microvolt = <1800000>;
				regulator-max-microvolt = <1800000>;
				regulator-enable-ramp-delay = <270>;
			};

			mt6366_vfe28_reg: vfe28 {
				regulator-name = "pp2800_vfe28_x";
				regulator-min-microvolt = <2800000>;
				regulator-max-microvolt = <2800000>;
				regulator-enable-ramp-delay = <270>;
			};

			mt6366_vemc_reg: vemc {
				regulator-name = "pp3000_vemc";
				regulator-min-microvolt = <3000000>;
				regulator-max-microvolt = <3000000>;
				regulator-enable-ramp-delay = <60>;
			};

			mt6366_vibr_reg: vibr {
				regulator-name = "pp2800_vibr_x";
				regulator-min-microvolt = <2800000>;
				regulator-max-microvolt = <2800000>;
				regulator-enable-ramp-delay = <60>;
			};

			mt6366_vio18_reg: vio18 {
				regulator-name = "pp1800_vio18_s3";
				regulator-min-microvolt = <1800000>;
				regulator-max-microvolt = <1800000>;
				regulator-enable-ramp-delay = <2700>;
				regulator-always-on;
			};

			mt6366_vio28_reg: vio28 {
				regulator-name = "pp2800_vio28_x";
				regulator-min-microvolt = <2800000>;
				regulator-max-microvolt = <2800000>;
				regulator-enable-ramp-delay = <270>;
			};

			mt6366_vm18_reg: vm18 {
				regulator-name = "pp1800_emi_vdd1";
				regulator-min-microvolt = <1800000>;
				regulator-max-microvolt = <1840000>;
				regulator-enable-ramp-delay = <325>;
				regulator-always-on;
			};

			mt6366_vmc_reg: vmc {
				regulator-name = "pp3000_vmc";
				regulator-min-microvolt = <3000000>;
				regulator-max-microvolt = <3000000>;
				regulator-enable-ramp-delay = <60>;
			};

			mt6366_vmddr_reg: vmddr {
				regulator-name = "pm0750_emi_vmddr";
				regulator-min-microvolt = <700000>;
				regulator-max-microvolt = <750000>;
				regulator-enable-ramp-delay = <325>;
				regulator-always-on;
			};

			mt6366_vmch_reg: vmch {
				regulator-name = "pp3000_vmch";
				regulator-min-microvolt = <3000000>;
				regulator-max-microvolt = <3000000>;
				regulator-enable-ramp-delay = <60>;
			};

			mt6366_vcn33_reg: vcn33 {
				regulator-name = "pp3300_vcn33_x";
				regulator-min-microvolt = <3300000>;
				regulator-max-microvolt = <3300000>;
				regulator-enable-ramp-delay = <270>;
			};

			vdram2 {
				regulator-name = "pp0600_emi_vddq";
				regulator-min-microvolt = <600000>;
				regulator-max-microvolt = <600000>;
				regulator-enable-ramp-delay = <3300>;
				regulator-always-on;
			};

			mt6366_vrf12_reg: vrf12 {
				regulator-name = "pp1200_vrf12_x";
				regulator-min-microvolt = <1200000>;
				regulator-max-microvolt = <1200000>;
				regulator-enable-ramp-delay = <120>;
			};

			mt6366_vrf18_reg: vrf18 {
				regulator-name = "pp1800_vrf18_x";
				regulator-min-microvolt = <1800000>;
				regulator-max-microvolt = <1800000>;
				regulator-enable-ramp-delay = <120>;
			};

			vsim1 {
				regulator-name = "pp1860_vsim1_x";
				regulator-min-microvolt = <1800000>;
				regulator-max-microvolt = <1860000>;
				regulator-enable-ramp-delay = <540>;
			};

			mt6366_vsim2_reg: vsim2 {
				regulator-name = "pp2760_vsim2_x";
				regulator-min-microvolt = <2700000>;
				regulator-max-microvolt = <2760000>;
				regulator-enable-ramp-delay = <540>;
			};

			mt6366_vsram_gpu_reg: vsram-gpu {
				regulator-name = "pp0900_dvdd_sram_gpu";
				regulator-min-microvolt = <850000>;
				regulator-max-microvolt = <1050000>;
				regulator-ramp-delay = <6250>;
				regulator-enable-ramp-delay = <240>;
				regulator-coupled-with = <&mt6366_vgpu_reg>;
				regulator-coupled-max-spread = <10000>;
			};

			mt6366_vsram_others_reg: vsram-others {
				regulator-name = "pp0900_dvdd_sram_core";
				regulator-min-microvolt = <900000>;
				regulator-max-microvolt = <900000>;
				regulator-ramp-delay = <6250>;
				regulator-enable-ramp-delay = <240>;
				regulator-always-on;
			};

			mt6366_vsram_proc11_reg: vsram-proc11 {
				regulator-name = "pp0900_dvdd_sram_bc";
				regulator-min-microvolt = <850000>;
				regulator-max-microvolt = <1120000>;
				regulator-ramp-delay = <6250>;
				regulator-enable-ramp-delay = <240>;
				regulator-always-on;
			};

			mt6366_vsram_proc12_reg: vsram-proc12 {
				regulator-name = "pp0900_dvdd_sram_lc";
				regulator-min-microvolt = <850000>;
				regulator-max-microvolt = <1120000>;
				regulator-ramp-delay = <6250>;
				regulator-enable-ramp-delay = <240>;
				regulator-always-on;
			};

			vusb {
				regulator-name = "pp3070_vusb";
				regulator-min-microvolt = <3000000>;
				regulator-max-microvolt = <3070000>;
				regulator-enable-ramp-delay = <270>;
				regulator-always-on;
			};

			vxo22 {
				regulator-name = "pp2240_vxo22";
				regulator-min-microvolt = <2200000>;
				regulator-max-microvolt = <2240000>;
				regulator-enable-ramp-delay = <120>;
				/* Feeds DCXO internally */
				regulator-always-on;
			};
		};

		rtc {
			compatible = "mediatek,mt6366-rtc", "mediatek,mt6358-rtc";
		};
	};
};

&scp {
	pinctrl-names = "default";
	pinctrl-0 = <&scp_pins>;
	firmware-name = "mediatek/mt8186/scp.img";
	memory-region = <&scp_mem>;
	status = "okay";

	cros-ec-rpmsg {
		compatible = "google,cros-ec-rpmsg";
		mediatek,rpmsg-name = "cros-ec-rpmsg";
	};
};

&spi1 {
	pinctrl-names = "default";
	pinctrl-0 = <&spi1_pins>;
	mediatek,pad-select = <0>;
	status = "okay";

	cros_ec: ec@0 {
		compatible = "google,cros-ec-spi";
		reg = <0>;
		interrupts-extended = <&pio 13 IRQ_TYPE_LEVEL_LOW>;
		pinctrl-names = "default";
		pinctrl-0 = <&ec_ap_int>;
		spi-max-frequency = <1000000>;

		i2c_tunnel: i2c-tunnel {
			compatible = "google,cros-ec-i2c-tunnel";
			google,remote-bus = <1>;
			#address-cells = <1>;
			#size-cells = <0>;
		};

		typec {
			compatible = "google,cros-ec-typec";
			#address-cells = <1>;
			#size-cells = <0>;

			usb_c0: connector@0 {
				compatible = "usb-c-connector";
				reg = <0>;
				label = "left";
				power-role = "dual";
				data-role = "host";
				try-power-role = "source";
			};

			usb_c1: connector@1 {
				compatible = "usb-c-connector";
				reg = <1>;
				label = "right";
				power-role = "dual";
				data-role = "host";
				try-power-role = "source";
			};
		};
	};
};

&spi2 {
	pinctrl-names = "default";
	pinctrl-0 = <&spi2_pins>;
	cs-gpios = <&pio 45 GPIO_ACTIVE_LOW>;
	mediatek,pad-select = <0>;
	status = "okay";

	tpm@0 {
		compatible = "google,cr50";
		reg = <0>;
		interrupts-extended = <&pio 15 IRQ_TYPE_EDGE_RISING>;
		pinctrl-names = "default";
		pinctrl-0 = <&gsc_int>;
		spi-max-frequency = <1000000>;
	};
};

&ssusb0 {
	status = "okay";
};

&ssusb1 {
	status = "okay";
};

&u3phy0 {
	status = "okay";
};

&u3phy1 {
	status = "okay";
};

&uart0 {
	status = "okay";
};

&usb_host0 {
	vbus-supply = <&pp3300_s3>;
	status = "okay";
};

&usb_host1 {
	vbus-supply = <&usb_p1_vbus>;
	status = "okay";
};

&watchdog {
	mediatek,reset-by-toprgu;
};

#include <arm/cros-ec-keyboard.dtsi>
#include <arm/cros-ec-sbs.dtsi>
